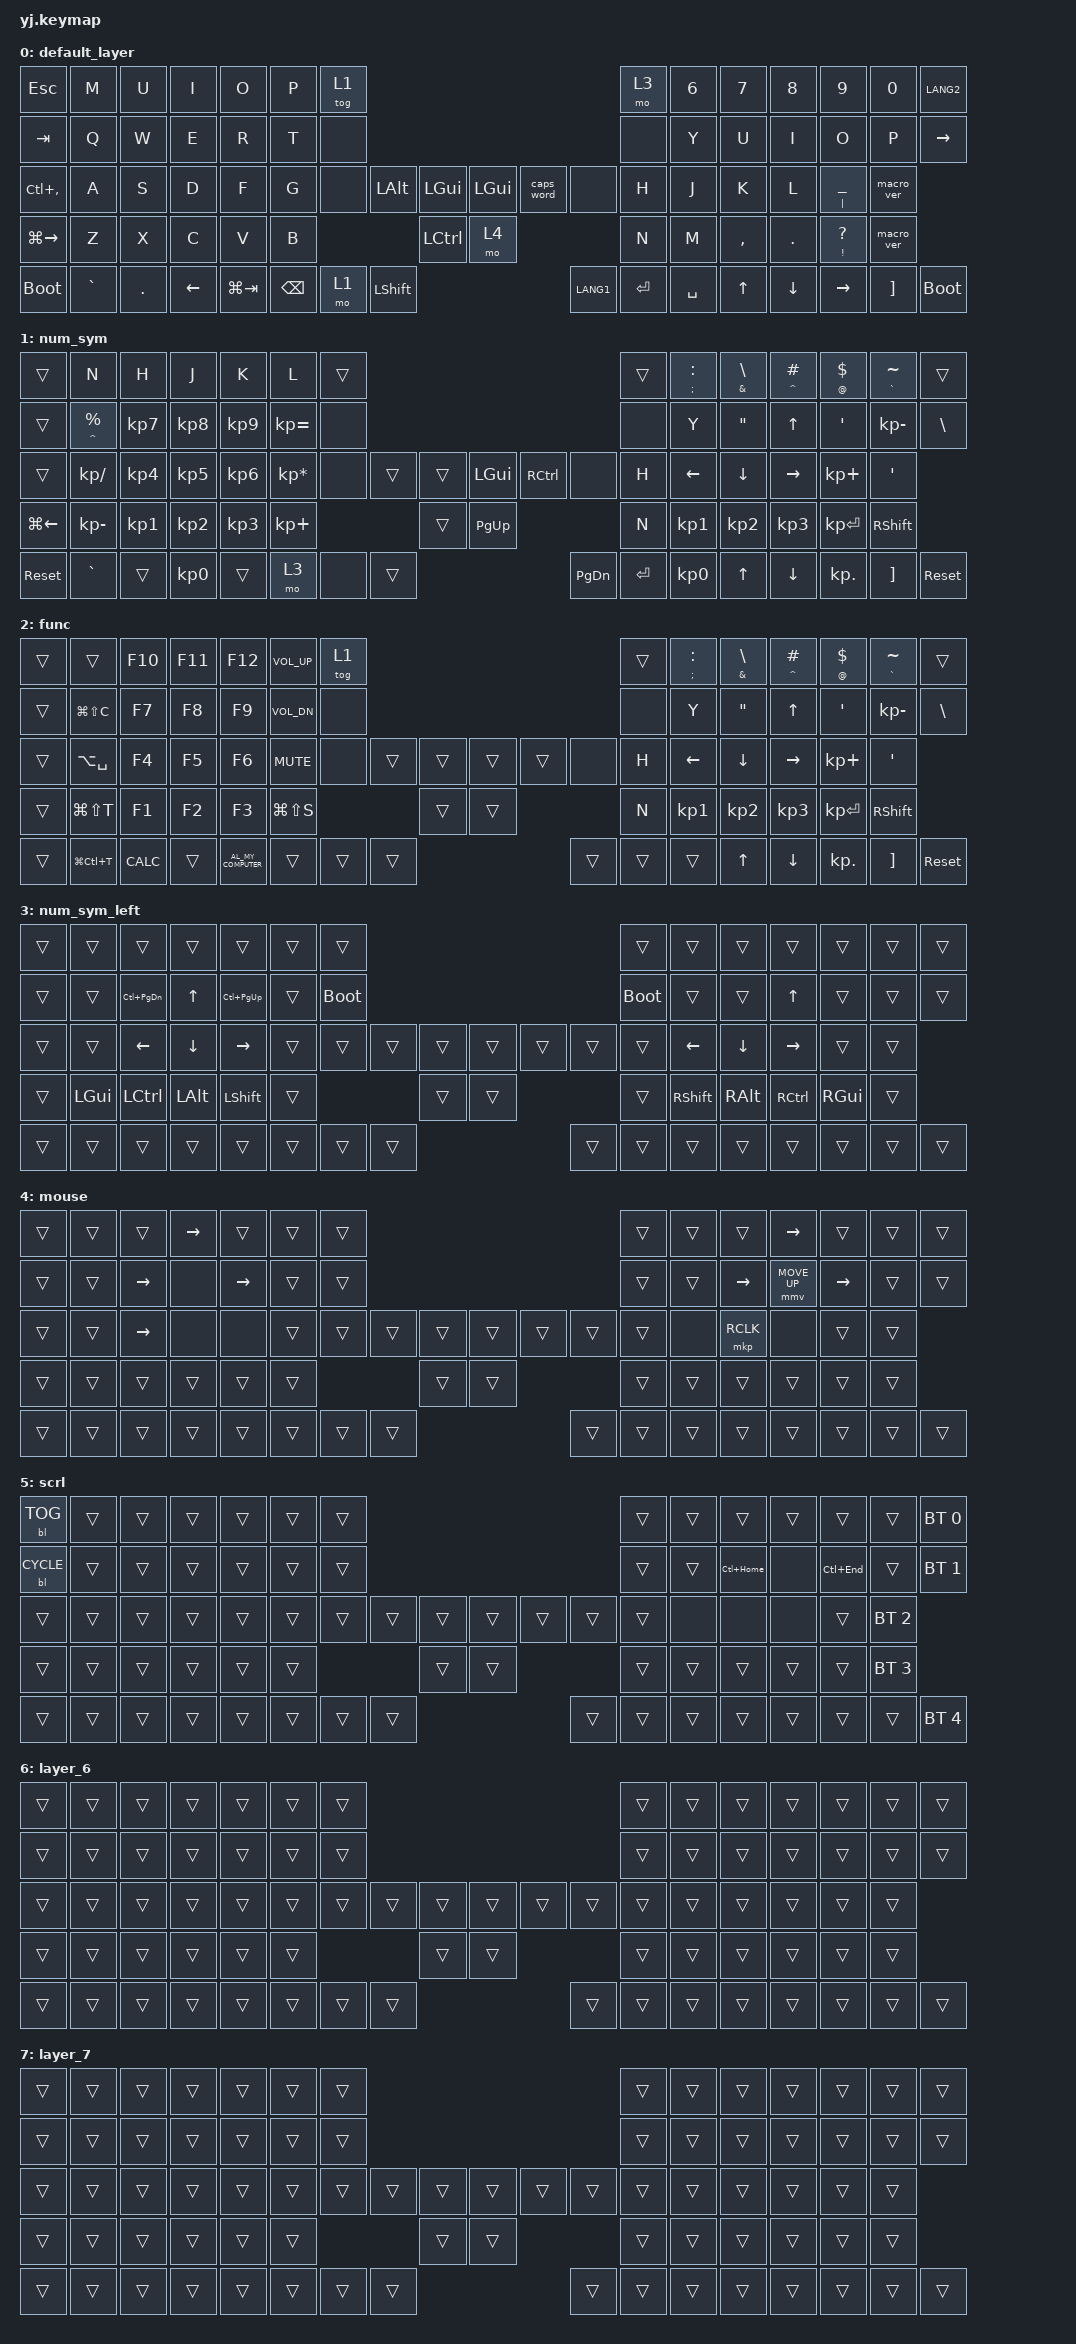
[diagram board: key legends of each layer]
#define ZMK_POINTING_DEFAULT_MOVE_VAL 1500  // default: 600
#define ZMK_POINTING_DEFAULT_SCRL_VAL 20    // default: 10

#include <behaviors.dtsi>
#include <dt-bindings/zmk/backlight.h>
#include <dt-bindings/zmk/bt.h>
#include <dt-bindings/zmk/keys.h>
#include <dt-bindings/zmk/pointing.h>

/ {
    behaviors {
        #include "macros.dtsi"
      #include "version.dtsi"
      #ifndef VERSION_MACRO

        macro_ver: macro_ver {
            compatible = "zmk,behavior-macro";
            label = "macro_version";
            #binding-cells = <0>;
            bindings = <&kp RET>;
        };

        delete_rest: delete_rest {
            compatible = "zmk,behavior-macro";
            #binding-cells = <0>;
            bindings = <&kp B>;
            label = "delete_rest_label";
        };

        end_ent: end_ent {
            compatible = "zmk,behavior-macro";
            #binding-cells = <0>;
            bindings = <&kp END &kp ENTER>;
            label = "END_ENT";
        };

        all_sel: all_sel {
            compatible = "zmk,behavior-macro";
            #binding-cells = <0>;
            bindings = <&kp HOME &kp LS(END)>;
            label = "ALL_SEL";
        };

        new_macro: new_macro {
            compatible = "zmk,behavior-macro";
            label = "NEW_MACRO";
            #binding-cells = <0>;
            bindings = <&kp RET>;
        };

        #endif

        hm: homerow_mods {
            compatible = "zmk,behavior-hold-tap";
            label = "HOMEROW_MODS";
            #binding-cells = <2>;
            tapping-term-ms = <200>;
            quick_tap_ms = <175>;
            flavor = "tap-preferred";
            bindings = <&kp>, <&kp>;
        };

        cs: custom_shift {
            compatible = "zmk,behavior-hold-tap";
            label = "CUSTOM_SHIFT";
            bindings = <&kp>, <&kp>;

            #binding-cells = <2>;
            flavor = "balanced";
            tapping-term-ms = <135>;
        };
    };

    macros {
    };

    combos {
        compatible = "zmk,combos";

        to_func {
            bindings = <&mo 2>;
            key-positions = <31 30 66>;
            layers = <0>;
            slow-release;
        };

        space {
            bindings = <&kp SPACE>;
            key-positions = <66 31>;
            layers = <0>;
        };

        home {
            bindings = <&kp HOME>;
            key-positions = <66 19>;
        };

        end {
            bindings = <&kp END>;
            key-positions = <66 33>;
        };

        win {
            bindings = <&sk LEFT_GUI>;
            key-positions = <47 66>;
        };

        esc {
            bindings = <&kp ESC>;
            key-positions = <17 66>;
        };

        pgdn {
            bindings = <&kp PG_DN>;
            key-positions = <66 30>;
        };

        pgup {
            bindings = <&kp PG_UP>;
            key-positions = <16 66>;
        };

        to_arr {
            bindings = <&mo 3>;
            key-positions = <66 31 32>;
            slow-release;
        };

        dt_right {
            bindings = <&kp LG(LC(RIGHT))>;
            key-positions = <49 50>;
        };

        dt_left {
            bindings = <&kp LG(LC(LEFT))>;
            key-positions = <48 49>;
        };

        left_sel {
            bindings = <&kp LC(LS(LEFT_ARROW))>;
            key-positions = <56 55>;
        };

        right_sel {
            bindings = <&kp LC(LS(RIGHT))>;
            key-positions = <57 56>;
        };

        all_sel {
            bindings = <&kp B>;
            key-positions = <55 56 57>;
        };

        enter {
            bindings = <&kp ENTER>;
            key-positions = <32 66>;
        };
    };

    keymap {
        compatible = "zmk,keymap";

        default_layer {
            bindings = <
&kp ESC        &kp M      &kp U    &kp I     &kp O        &kp P  &tog 1                                                             &mo 3      &kp N6  &kp N7  &kp N8     &kp N9     &kp N0                       &kp LANG2
&kp TAB        &kp Q      &kp W    &kp E     &kp R        &kp T  &none                                                              &none      &kp Y   &kp U   &kp I      &kp O      &kp P                        &kp RIGHT
&kp LC(COMMA)  &kp A      &kp S    &kp D     &kp F        &kp G  &none     &kp LEFT_ALT  &kp LEFT_GUI        &kp LGUI   &caps_word  &none      &kp H   &kp J   &kp K      &kp L      &cs PIPE UNDER     &macro_ver
&kp LG(RIGHT)  &kp Z      &kp X    &kp C     &kp V        &kp B                          &kp LCTRL           &mo 4                             &kp N   &kp M   &kp COMMA  &kp DOT    &cs EXCL QUESTION  &macro_ver
&bootloader    &kp GRAVE  &kp DOT  &kp LEFT  &kp LG(TAB)         &kp BSPC  &mo 1         &kp LEFT_SHIFT      &kp LANG1  &kp ENTER   &kp SPACE          &kp UP  &kp DOWN   &kp RIGHT  &kp RBKT                     &bootloader
            >;
        };

        num_sym {
            bindings = <
&trans              &kp N                        &kp H            &kp J            &kp K            &kp L            &trans                                            &trans      &cs SEMI COLON  &cs AMPERSAND BACKSLASH  &cs CARET HASH  &cs AT_SIGN DLLR  &cs GRAVE TILDE  &trans
&trans              &cs CARET PERCENT  &kp KP_NUMBER_7  &kp KP_NUMBER_8  &kp KP_NUMBER_9  &kp KP_EQUAL     &none                                             &none      &kp Y                     &kp DOUBLE_QUOTES                  &kp UP                    &kp SQT                     &kp KP_MINUS               &kp BSLH
&trans              &kp KP_DIVIDE                &kp KP_NUMBER_4  &kp KP_NUMBER_5  &kp KP_NUMBER_6  &kp KP_MULTIPLY  &none   &trans  &trans      &kp LGUI   &kp RCTRL  &none      &kp H                     &kp LEFT                           &kp DOWN                  &kp RIGHT                   &kp KP_PLUS                &kp SQT
&kp LG(LEFT_ARROW)  &kp KP_MINUS                 &kp KP_NUMBER_1  &kp KP_NUMBER_2  &kp KP_NUMBER_3  &kp KP_PLUS                      &trans      &kp PG_UP                        &kp N                     &kp KP_N1                          &kp KP_N2                 &kp KP_N3                   &kp KP_ENTER               &kp RSHFT
&sys_reset          &kp GRAVE                    &trans           &kp KP_NUMBER_0  &trans                            &mo 3   &none   &trans      &kp PG_DN  &kp ENTER  &kp KP_N0                            &kp UP                             &kp DOWN                  &kp KP_DOT                  &kp RBKT                   &sys_reset
            >;
        };

        func {
            bindings = <
&trans  &trans         &kp F10     &kp F11  &kp F12               &kp C_VOL_UP   &tog 1                                      &trans      &cs SEMI COLON  &cs AMPERSAND BACKSLASH  &cs CARET HASH  &cs AT_SIGN DLLR  &cs GRAVE TILDE  &trans
&trans  &kp LG(LS(C))  &kp F7      &kp F8   &kp F9                &kp C_VOL_DN   &none                                       &none      &kp Y                     &kp DOUBLE_QUOTES                  &kp UP                    &kp SQT                     &kp KP_MINUS               &kp BSLH
&trans  &kp LA(SPACE)  &kp F4      &kp F5   &kp F6                &kp K_MUTE     &none   &trans  &trans      &trans  &trans  &none   &kp H                     &kp LEFT                           &kp DOWN                  &kp RIGHT                   &kp KP_PLUS                &kp SQT
&trans  &kp LG(LS(T))  &kp F1      &kp F2   &kp F3                &kp LG(LS(S))                  &trans      &trans                  &kp N                     &kp KP_N1                          &kp KP_N2                 &kp KP_N3                   &kp KP_ENTER               &kp RSHFT
&trans  &kp LG(LC(T))  &kp K_CALC  &trans   &kp C_AL_MY_COMPUTER                 &trans  &trans  &trans      &trans  &trans  &trans          &kp UP                             &kp DOWN                  &kp KP_DOT                  &kp RBKT                   &sys_reset
            >;
        };

        num_sym_left {
            bindings = <
&trans  &trans    &trans             &trans    &trans         &trans  &trans                                           &trans       &trans  &trans     &trans    &trans     &trans    &trans
&trans  &trans    &kp LC(PAGE_DOWN)  &kp UP    &kp LC(PG_UP)  &trans  &bootloader                                      &bootloader  &trans  &trans     &kp UP    &trans     &trans    &trans
&trans  &trans    &kp LEFT           &kp DOWN  &kp RIGHT      &trans  &trans       &trans  &trans      &trans  &trans  &trans       &trans  &kp LEFT   &kp DOWN  &kp RIGHT  &trans    &trans
&trans  &kp LGUI  &kp LCTRL          &kp LALT  &kp LSHFT      &trans                       &trans      &trans                       &trans  &kp RSHFT  &kp RALT  &kp RCTRL  &kp RGUI  &trans
&trans  &trans    &trans             &trans    &trans                 &trans       &trans  &trans      &trans  &trans  &trans               &trans     &trans    &trans     &trans    &trans
            >;
        };

        mouse {
            bindings = <
&trans  &trans  &trans     &kp RIGHT  &trans     &trans  &trans                                      &trans  &trans  &trans     &kp RIGHT     &trans     &trans  &trans
&trans  &trans  &kp RIGHT  &none      &kp RIGHT  &trans  &trans                                      &trans  &trans  &kp RIGHT  &mmv MOVE_UP  &kp RIGHT  &trans  &trans
&trans  &trans  &kp RIGHT  &none      &none      &trans  &trans  &trans  &trans      &trans  &trans  &trans  &trans  &none      &mkp RCLK     &none      &trans  &trans
&trans  &trans  &trans     &trans     &trans     &trans                  &trans      &trans                  &trans  &trans     &trans        &trans     &trans  &trans
&trans  &trans  &trans     &trans     &trans             &trans  &trans  &trans      &trans  &trans  &trans          &trans     &trans        &trans     &trans  &trans
            >;
        };

        scrl {
            bindings = <
&bl BL_TOG    &trans  &trans  &trans  &trans  &trans  &trans                                      &trans  &trans  &trans        &trans  &trans       &trans  &bt BT_SEL 0
&bl BL_CYCLE  &trans  &trans  &trans  &trans  &trans  &trans                                      &trans  &trans  &kp LC(HOME)  &none   &kp LC(END)  &trans  &bt BT_SEL 1
&trans        &trans  &trans  &trans  &trans  &trans  &trans  &trans  &trans      &trans  &trans  &trans  &trans  &none         &none   &none        &trans  &bt BT_SEL 2
&trans        &trans  &trans  &trans  &trans  &trans                  &trans      &trans                  &trans  &trans        &trans  &trans       &trans  &bt BT_SEL 3
&trans        &trans  &trans  &trans  &trans          &trans  &trans  &trans      &trans  &trans  &trans          &trans        &trans  &trans       &trans  &bt BT_SEL 4
            >;
        };

        layer_6 {
            bindings = <
&trans  &trans  &trans  &trans  &trans  &trans  &trans                                      &trans  &trans  &trans  &trans  &trans  &trans  &trans
&trans  &trans  &trans  &trans  &trans  &trans  &trans                                      &trans  &trans  &trans  &trans  &trans  &trans  &trans
&trans  &trans  &trans  &trans  &trans  &trans  &trans  &trans  &trans      &trans  &trans  &trans  &trans  &trans  &trans  &trans  &trans  &trans
&trans  &trans  &trans  &trans  &trans  &trans                  &trans      &trans                  &trans  &trans  &trans  &trans  &trans  &trans
&trans  &trans  &trans  &trans  &trans          &trans  &trans  &trans      &trans  &trans  &trans          &trans  &trans  &trans  &trans  &trans
            >;
        };

        layer_7 {
            bindings = <
&trans  &trans  &trans  &trans  &trans  &trans  &trans                                      &trans  &trans  &trans  &trans  &trans  &trans  &trans
&trans  &trans  &trans  &trans  &trans  &trans  &trans                                      &trans  &trans  &trans  &trans  &trans  &trans  &trans
&trans  &trans  &trans  &trans  &trans  &trans  &trans  &trans  &trans      &trans  &trans  &trans  &trans  &trans  &trans  &trans  &trans  &trans
&trans  &trans  &trans  &trans  &trans  &trans                  &trans      &trans                  &trans  &trans  &trans  &trans  &trans  &trans
&trans  &trans  &trans  &trans  &trans          &trans  &trans  &trans      &trans  &trans  &trans          &trans  &trans  &trans  &trans  &trans
            >;
        };
    };

    conditional_layers {
        compatible = "zmk,conditional-layers";

        scroll_layer {
            if-layers = <1 4>;
            then-layer = <5>;
        };
    };
};
